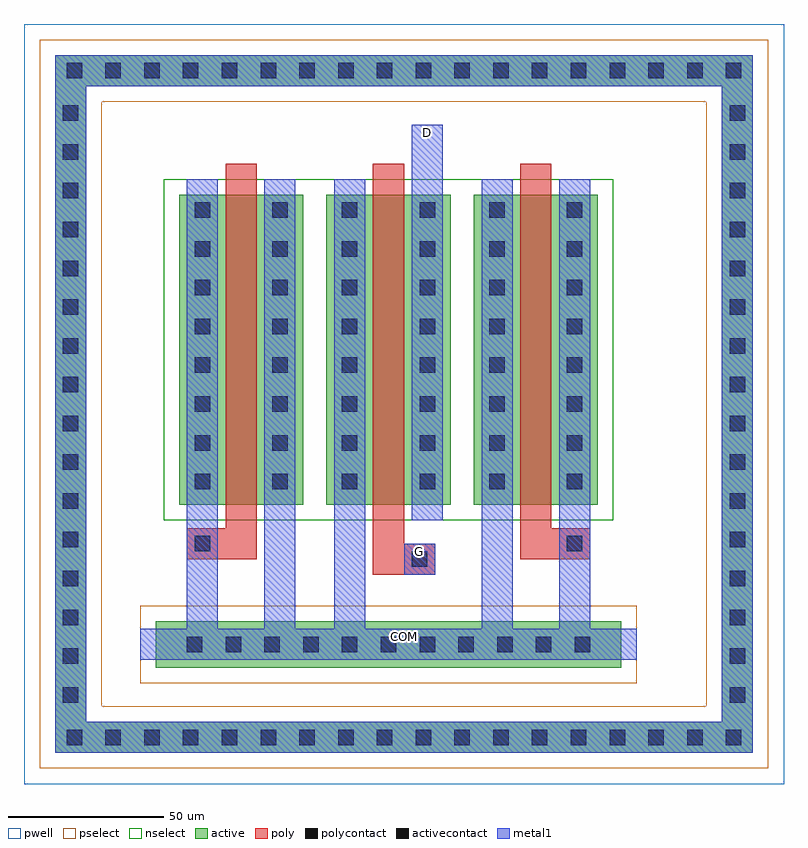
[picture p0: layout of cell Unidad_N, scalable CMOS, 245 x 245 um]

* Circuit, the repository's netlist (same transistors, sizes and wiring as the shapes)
* Extracted by KLayout (CIDESI_CM05, LNunT, CIDESI)

.SUBCKT Unidad_N G D COM
M$1 COM COM COM COM CIDNMOS L=10U W=100U AS=1500P AD=1500P PS=230U PD=230U
M$2 D G COM COM CIDNMOS L=10U W=100U AS=1500P AD=1500P PS=230U PD=230U
M$3 COM COM COM COM CIDNMOS L=10U W=100U AS=1500P AD=1500P PS=230U PD=230U
.ENDS Unidad_N

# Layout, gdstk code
import gdstk
lib = gdstk.Library(unit=1e-6, precision=1e-09)
def R(c, l, rs):  # rectangles x0, y0, x1, y1
    for r in rs: c.add(gdstk.rectangle(r[:2], r[2:], *l))
def A(c, l, x, y, w, h, nx, ny, dx, dy):  # array of equal rectangles
    R(c, l, [(x+i*dx, y+j*dy, x+i*dx+w, y+j*dy+h) for i in range(nx) for j in range(ny)])
pwell = (41, 0)
active = (43, 0)
pselect = (44, 0)
nselect = (45, 0)
poly = (46, 0)
polycontact = (47, 0)
activecontact = (48, 0)
metal1 = (49, 0)

guardring = lib.new_cell('GuardRing')
R(guardring, active, [(0,0,225,10), (0,10,10,215), (215,10,225,215), (0,215,225,225)])
R(guardring, pselect, [(-5,-5,230,15), (-5,5,15,220), (210,5,230,220), (-5,210,230,230)])
A(guardring, activecontact, 3.75, 2.5, 5, 5, 18, 2, 12.5, 215)
A(guardring, activecontact, 2.5, 16.25, 5, 5, 1, 16, 0, 12.5)
A(guardring, activecontact, 217.5, 16.25, 5, 5, 1, 16, 0, 12.5)
R(guardring, metal1, [(0,0,225,10), (0,10,10,215), (215,10,225,215), (0,215,225,225)])
guardring.add(gdstk.Label('GND\x11V\x02', (0.113,0.005), layer=49, texttype=1))

unidad_n = lib.new_cell('Unidad_N')
R(unidad_n, pwell, [(-5,-5,240,240), (30,70,195,200)])
R(unidad_n, active, [(37.5,32.5,187.5,47.5), (45,85,85,185), (45,85,85,185), (92.5,85,132.5,185), (92.5,85,132.5,185), (140,85,180,185), (140,85,180,185)])
R(unidad_n, pselect, [(32.5,27.5,192.5,52.5)])
R(unidad_n, nselect, [(40,80,185,190)])
A(unidad_n, poly, 60, 75, 10, 120, 3, 1, 47.5, 0)
R(unidad_n, poly, [(107.5,62.5,117.5,85), (107.5,62.5,127.5,72.5), (47.5,67.5,70,77.5), (155,67.5,177.5,77.5)])
R(unidad_n, polycontact, [(120,65,125,70), (50,70,55,75), (170,70,175,75)])
A(unidad_n, activecontact, 47.5, 37.5, 5, 5, 11, 1, 12.5, 0)
A(unidad_n, activecontact, 50, 90, 5, 5, 1, 8, 0, 12.5)
A(unidad_n, activecontact, 75, 90, 5, 5, 1, 8, 0, 12.5)
A(unidad_n, activecontact, 97.5, 90, 5, 5, 1, 8, 0, 12.5)
A(unidad_n, activecontact, 122.5, 90, 5, 5, 1, 8, 0, 12.5)
A(unidad_n, activecontact, 145, 90, 5, 5, 1, 8, 0, 12.5)
A(unidad_n, activecontact, 170, 90, 5, 5, 1, 8, 0, 12.5)
R(unidad_n, metal1, [(32.5,35,192.5,45), (47.5,35,57.5,190), (72.5,35,82.5,190), (95,35,105,190), (142.5,35,152.5,190), (167.5,35,177.5,190), (117.5,62.5,127.5,72.5), (47.5,80,57.5,190), (72.5,80,82.5,190), (95,80,105,190), (120,80,130,190), (120,80,130,207.5), (142.5,80,152.5,190), (167.5,80,177.5,190)])
r = gdstk.Reference(guardring, (5,5)); r.repetition = gdstk.Repetition(1, 1, v1=(0,0), v2=(0,0)); unidad_n.add(r)
unidad_n.add(gdstk.Label('G', (122.5,70), layer=49, texttype=1))
unidad_n.add(gdstk.Label('D', (125,205), layer=49, texttype=1))
unidad_n.add(gdstk.Label('COM', (117.5,42.5), layer=49, texttype=1))

lib.write_gds('Unidad_N.gds')
